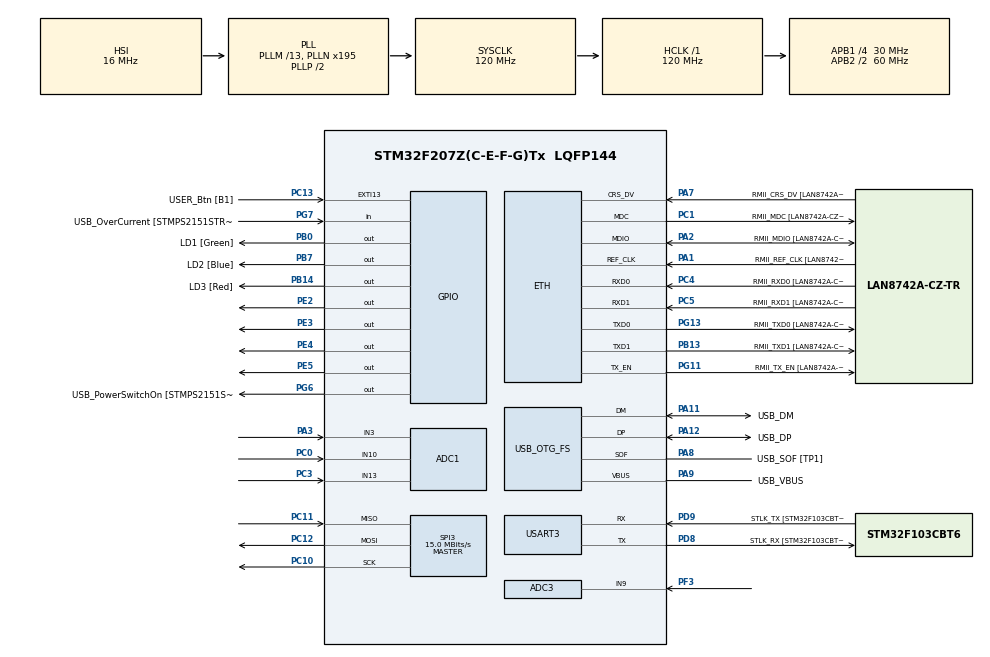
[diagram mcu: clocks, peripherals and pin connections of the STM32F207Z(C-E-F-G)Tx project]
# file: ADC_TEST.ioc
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ADC1.Channel-0\#ChannelRegularConversion=ADC_CHANNEL_3
ADC1.Channel-1\#ChannelRegularConversion=ADC_CHANNEL_10
ADC1.Channel-2\#ChannelRegularConversion=ADC_CHANNEL_13
ADC1.EnableAnalogWatchDog=true
ADC1.NbrOfConversion=3
ADC1.NbrOfConversionFlag=1
ADC1.Rank-0\#ChannelRegularConversion=1
ADC1.Rank-1\#ChannelRegularConversion=2
ADC1.Rank-2\#ChannelRegularConversion=3
ADC1.SamplingTime-0\#ChannelRegularConversion=ADC_SAMPLETIME_3CYCLES
ADC1.SamplingTime-1\#ChannelRegularConversion=ADC_SAMPLETIME_3CYCLES
ADC1.SamplingTime-2\#ChannelRegularConversion=ADC_SAMPLETIME_3CYCLES
ADC1.ScanConvMode=ENABLE
ADC1.WatchdogChannel=ADC_CHANNEL_3
ADC1.master=1
ADC3.Channel-0\#ChannelRegularConversion=ADC_CHANNEL_9
ADC3.Channel-1\#ChannelRegularConversion=ADC_CHANNEL_9
ADC3.EnableAnalogWatchDog=true
ADC3.NbrOfConversion=2
ADC3.NbrOfConversionFlag=1
ADC3.Rank-0\#ChannelRegularConversion=1
ADC3.Rank-1\#ChannelRegularConversion=2
ADC3.SamplingTime-0\#ChannelRegularConversion=ADC_SAMPLETIME_3CYCLES
ADC3.SamplingTime-1\#ChannelRegularConversion=ADC_SAMPLETIME_3CYCLES
ADC3.ScanConvMode=ENABLE
ADC3.WatchdogChannel=ADC_CHANNEL_9
Dma.ADC1.0.Direction=DMA_PERIPH_TO_MEMORY
Dma.ADC1.0.FIFOMode=DMA_FIFOMODE_DISABLE
Dma.ADC1.0.Instance=DMA2_Stream0
Dma.ADC1.0.MemDataAlignment=DMA_MDATAALIGN_WORD
Dma.ADC1.0.MemInc=DMA_MINC_ENABLE
Dma.ADC1.0.Mode=DMA_CIRCULAR
Dma.ADC1.0.PeriphDataAlignment=DMA_PDATAALIGN_WORD
Dma.ADC1.0.PeriphInc=DMA_PINC_DISABLE
Dma.ADC1.0.Priority=DMA_PRIORITY_LOW
Dma.ADC3.1.Direction=DMA_PERIPH_TO_MEMORY
Dma.ADC3.1.FIFOMode=DMA_FIFOMODE_DISABLE
Dma.ADC3.1.Instance=DMA2_Stream1
Dma.ADC3.1.MemDataAlignment=DMA_MDATAALIGN_HALFWORD
Dma.ADC3.1.MemInc=DMA_MINC_ENABLE
Dma.ADC3.1.Mode=DMA_CIRCULAR
Dma.ADC3.1.PeriphDataAlignment=DMA_PDATAALIGN_HALFWORD
Dma.ADC3.1.PeriphInc=DMA_PINC_DISABLE
Dma.ADC3.1.Priority=DMA_PRIORITY_LOW
Dma.Request0=ADC1
Dma.Request1=ADC3
ETH.MediaInterface=ETH_MEDIA_INTERFACE_RMII
ETH.PHY_Name=LAN8742A_PHY_ADDRESS
ETH.PHY_Value=0
ETH.PhyAddress=0
Mcu.Family=STM32F2
Mcu.Name=STM32F207Z(C-E-F-G)Tx
Mcu.Package=LQFP144
NVIC.ADC_IRQn=true\:0\:0\:false\:false\:true\:true\:true
NVIC.DMA2_Stream0_IRQn=true\:0\:0\:false\:false\:true\:false\:true
NVIC.DMA2_Stream1_IRQn=true\:0\:0\:false\:false\:true\:false\:true
NVIC.PriorityGroup=NVIC_PRIORITYGROUP_4
NVIC.USART3_IRQn=true\:0\:0\:false\:false\:true\:true\:true
PA1.GPIO_Label=RMII_REF_CLK [LAN8742A-CZ-TR_REFCLK0]
PA1.Mode=RMII
PA1.Signal=ETH_REF_CLK
PA10.GPIO_Label=USB_ID
PA10.Signal=USB_OTG_FS_ID
PA11.GPIO_Label=USB_DM
PA11.Mode=Device_Only
PA11.Signal=USB_OTG_FS_DM
PA12.GPIO_Label=USB_DP
PA12.Mode=Device_Only
PA12.Signal=USB_OTG_FS_DP
PA13.GPIO_Label=TMS
PA13.Mode=Serial_Wire
PA13.Signal=SYS_JTMS-SWDIO
PA14.GPIO_Label=TCK
PA14.Mode=Serial_Wire
PA14.Signal=SYS_JTCK-SWCLK
PA2.GPIO_Label=RMII_MDIO [LAN8742A-CZ-TR_MDIO]
PA2.Mode=RMII
PA2.Signal=ETH_MDIO
PA3.Signal=ADCx_IN3
PA7.GPIO_Label=RMII_CRS_DV [LAN8742A-CZ-TR_CRS_DV]
PA7.Mode=RMII
PA7.Signal=ETH_CRS_DV
PA8.GPIO_Label=USB_SOF [TP1]
PA8.Mode=Activate_SOF_FS
PA8.Signal=USB_OTG_FS_SOF
PA9.GPIO_Label=USB_VBUS
PA9.Mode=Activate_VBUS
PA9.Signal=USB_OTG_FS_VBUS
PB0.GPIO_Label=LD1 [Green]
PB0.Signal=GPIO_Output
PB13.GPIO_Label=RMII_TXD1 [LAN8742A-CZ-TR_TXD1]
PB13.Mode=RMII
PB13.Signal=ETH_TXD1
PB14.GPIO_Label=LD3 [Red]
PB14.Signal=GPIO_Output
PB3.GPIO_Label=SWO
PB3.Signal=SYS_JTDO-SWO
PB7.GPIO_Label=LD2 [Blue]
PB7.Signal=GPIO_Output
PC0.Signal=ADCx_IN10
PC1.GPIO_Label=RMII_MDC [LAN8742A-CZ-TR_MDC]
PC1.Mode=RMII
PC1.Signal=ETH_MDC
PC10.Mode=Full_Duplex_Master
PC10.Signal=SPI3_SCK
PC11.Mode=Full_Duplex_Master
PC11.Signal=SPI3_MISO
PC12.Mode=Full_Duplex_Master
PC12.Signal=SPI3_MOSI
PC13.GPIO_Label=USER_Btn [B1]
PC13.Signal=GPXTI13
PC14-OSC32_IN.Mode=LSE-External-Oscillator
PC14-OSC32_IN.Signal=RCC_OSC32_IN
PC15-OSC32_OUT.Mode=LSE-External-Oscillator
PC15-OSC32_OUT.Signal=RCC_OSC32_OUT
PC3.Signal=ADCx_IN13
PC4.GPIO_Label=RMII_RXD0 [LAN8742A-CZ-TR_RXD0]
PC4.Mode=RMII
PC4.Signal=ETH_RXD0
PC5.GPIO_Label=RMII_RXD1 [LAN8742A-CZ-TR_RXD1]
PC5.Mode=RMII
PC5.Signal=ETH_RXD1
PD8.GPIO_Label=STLK_RX [STM32F103CBT6_PA3]
PD8.Mode=Asynchronous
PD8.Signal=USART3_TX
PD9.GPIO_Label=STLK_TX [STM32F103CBT6_PA2]
PD9.Mode=Asynchronous
PD9.Signal=USART3_RX
PE2.Signal=GPIO_Output
PE3.Signal=GPIO_Output
PE4.Signal=GPIO_Output
PE5.Signal=GPIO_Output
PF3.Mode=IN9
PF3.Signal=ADC3_IN9
PG11.GPIO_Label=RMII_TX_EN [LAN8742A-CZ-TR_TXEN]
PG11.Mode=RMII
PG11.Signal=ETH_TX_EN
PG13.GPIO_Label=RMII_TXD0 [LAN8742A-CZ-TR_TXD0]
PG13.Mode=RMII
PG13.Signal=ETH_TXD0
PG6.GPIO_Label=USB_PowerSwitchOn [STMPS2151STR_EN]
PG6.Signal=GPIO_Output
PG7.GPIO_Label=USB_OverCurrent [STMPS2151STR_FAULT]
PG7.Signal=GPIO_Input
PH0-OSC_IN.GPIO_Label=MCO [STM32F103CBT6_PA8]
PH0-OSC_IN.Mode=HSE-External-Clock-Source
PH0-OSC_IN.Signal=RCC_OSC_IN
PH1-OSC_OUT.Mode=HSE-External-Clock-Source
PH1-OSC_OUT.Signal=RCC_OSC_OUT
ProjectManager.HeapSize=0x200
ProjectManager.StackSize=0x400
ProjectManager.TargetToolchain=STM32CubeIDE
RCC.48MHZClocksFreq_Value=48000000
RCC.AHBFreq_Value=120000000
RCC.APB1CLKDivider=RCC_HCLK_DIV4
RCC.APB1Freq_Value=30000000
RCC.APB1TimFreq_Value=60000000
RCC.APB2CLKDivider=RCC_HCLK_DIV2
RCC.APB2Freq_Value=60000000
RCC.APB2TimFreq_Value=120000000
RCC.CortexFreq_Value=120000000
RCC.HCLKFreq_Value=120000000
RCC.HSE_VALUE=8000000
RCC.HSI_VALUE=16000000
RCC.PLLM=13
RCC.PLLMUL=RCC_PLL_MUL9
RCC.PLLN=195
RCC.PLLQ=5
RCC.PRESCALERUSB=RCC_USBCLKSOURCE_PLL_DIV1_5
RCC.SYSCLKFreq_VALUE=120000000
RCC.SYSCLKSource=RCC_SYSCLKSOURCE_PLLCLK
RCC.SYSCLKSourceVirtual=RCC_SYSCLKSOURCE_PLLCLK
RCC.USBFreq_Value=48000000
RCC.VCOOutputFreq_Value=240000000
SH.ADCx_IN10.0=ADC1_IN10,IN10
SH.ADCx_IN13.0=ADC1_IN13,IN13
SH.ADCx_IN3.0=ADC1_IN3,IN3
SPI3.CalculateBaudRate=15.0 MBits/s
SPI3.Direction=SPI_DIRECTION_2LINES
SPI3.Mode=SPI_MODE_MASTER
SPI3.VirtualType=VM_MASTER
USART3.VirtualMode=VM_ASYNC
USB_OTG_FS.VirtualMode=Device_Only
board=NUCLEO-F207ZG

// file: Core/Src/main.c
/* USER CODE BEGIN Header */
/* USER CODE END Header */
#include "main.h"

/* USER CODE BEGIN PD */
#define HAL_PRINT(HU,STR) HAL_UART_Transmit(HU, STR, strlen(STR),1000) // UART_Transmit�?? HAL_PRINT�?? ?��처리 ?��?��?��
/* USER CODE END PD */

ADC_HandleTypeDef hadc1;
ADC_HandleTypeDef hadc3;
DMA_HandleTypeDef hdma_adc1;
DMA_HandleTypeDef hdma_adc3;

ETH_HandleTypeDef heth;

SPI_HandleTypeDef hspi3;

UART_HandleTypeDef huart3;

PCD_HandleTypeDef hpcd_USB_OTG_FS;

void SystemClock_Config(void);
static void MX_GPIO_Init(void);
static void MX_DMA_Init(void);
static void MX_ETH_Init(void);
static void MX_USART3_UART_Init(void);
static void MX_USB_OTG_FS_PCD_Init(void);
static void MX_ADC1_Init(void);
static void MX_ADC3_Init(void);
static void MX_SPI3_Init(void);

int main(void)
{

	/* MCU Configuration--------------------------------------------------------*/

	/* Reset of all peripherals, Initializes the Flash interface and the Systick. */
	HAL_Init();

	/* Configure the system clock */
	SystemClock_Config();

	/* Initialize all configured peripherals */
	MX_GPIO_Init();
	MX_DMA_Init();
	MX_ETH_Init();
	MX_USART3_UART_Init();
	MX_USB_OTG_FS_PCD_Init();
	MX_ADC1_Init();
	MX_ADC3_Init();
	MX_SPI3_Init();
	/* USER CODE BEGIN 2 */
	HAL_PRINT(&huart3, "INIT CLEAR\r\n"); // ?��처리?�� 것으�?? UART Transmit ?��
	uint32_t adcValue[4]; // ACD �?? ???�� 배열
	char buf[130]; // ?�� ?��?�� 130?���?? >> �??

	uint16_t command; // SET MAX Value SAVE Variable
	uint8_t cnt = 0; // 초기?�� �?? 분기 �???��
	/* USER CODE END 2 */

	/* Infinite loop */
	while (1)
	{

		/* USER CODE BEGIN 3 */

		for (int i = 2; i <= 5; i++)
		{
			HAL_GPIO_WritePin(GPIOE, (1 << i), RESET);
			switch (i % 2)
			{ // if 문을 switch case�?? 바꿈
			case 1:
				command = cnt;
				break;
			default:
				command = 255 - cnt;
				break;
			} // End of switch case default

			/*
			 if (i % 2 == 1)
			 {
			 command = cnt;
			 }
			 else
			 {
			 command = 255 - cnt;
			 }*/
			command <<= 8; // Bit shift
			HAL_SPI_Transmit(&hspi3, &command, 2, 1000); // SPI ?��?��
			HAL_GPIO_WritePin(GPIOE, (1 << i), SET);
			// HAL_SPI_Receive(&hspi3, buf, 2, 1000);
		} // End of for

		HAL_ADC_Start_DMA(&hadc1, adcValue, 3); // ADC1 3개이�??�??
		for (int i = 0; i < 3; i++)
		{ // ADC 3개�?? ?��?��?���??�?? DMA�?? ?��?��?��
			HAL_DMA_PollForTransfer(&hdma_adc1, HAL_DMA_FULL_TRANSFER, 1000); // ?���?? 뭔�? ?��?��?��?��
		}
		HAL_ADC_Stop_DMA(&hadc1); // ?��것이 뭔�?

		HAL_ADC_Start(&hadc3); // ADC 1개만 ?��근하�??�?? DMA�?? ?��?�� ?��?��.
		HAL_ADC_PollForConversion(&hadc3, 100);
		adcValue[3] = HAL_ADC_GetValue(&hadc3);
		HAL_ADC_Stop(&hadc3);

		sprintf(buf, "STEP : ADC = %03d   %04d   %04d   %04d   %04d\r\n", cnt,
				adcValue[0], adcValue[1], adcValue[2], adcValue[3]);
		HAL_PRINT(&huart3, (uint8_t* )buf);
		HAL_Delay(500);
		cnt++;
	}
	/* USER CODE END 3 */
}

void SystemClock_Config(void)
{
	RCC_OscInitTypeDef RCC_OscInitStruct =
	{ 0 };
	RCC_ClkInitTypeDef RCC_ClkInitStruct =
	{ 0 };

	/** Initializes the RCC Oscillators according to the specified parameters
	 * in the RCC_OscInitTypeDef structure.
	 */
	RCC_OscInitStruct.OscillatorType = RCC_OSCILLATORTYPE_HSI;
	RCC_OscInitStruct.HSIState = RCC_HSI_ON;
	RCC_OscInitStruct.HSICalibrationValue = RCC_HSICALIBRATION_DEFAULT;
	RCC_OscInitStruct.PLL.PLLState = RCC_PLL_ON;
	RCC_OscInitStruct.PLL.PLLSource = RCC_PLLSOURCE_HSI;
	RCC_OscInitStruct.PLL.PLLM = 13;
	RCC_OscInitStruct.PLL.PLLN = 195;
	RCC_OscInitStruct.PLL.PLLP = RCC_PLLP_DIV2;
	RCC_OscInitStruct.PLL.PLLQ = 5;
	if (HAL_RCC_OscConfig(&RCC_OscInitStruct) != HAL_OK)
	{
		Error_Handler();
	}
	/** Initializes the CPU, AHB and APB buses clocks
	 */
	RCC_ClkInitStruct.ClockType = RCC_CLOCKTYPE_HCLK | RCC_CLOCKTYPE_SYSCLK
			| RCC_CLOCKTYPE_PCLK1 | RCC_CLOCKTYPE_PCLK2;
	RCC_ClkInitStruct.SYSCLKSource = RCC_SYSCLKSOURCE_PLLCLK;
	RCC_ClkInitStruct.AHBCLKDivider = RCC_SYSCLK_DIV1;
	RCC_ClkInitStruct.APB1CLKDivider = RCC_HCLK_DIV4;
	RCC_ClkInitStruct.APB2CLKDivider = RCC_HCLK_DIV2;

	if (HAL_RCC_ClockConfig(&RCC_ClkInitStruct, FLASH_LATENCY_3) != HAL_OK)
	{
		Error_Handler();
	}
}

static void MX_ADC1_Init(void)
{

	ADC_AnalogWDGConfTypeDef AnalogWDGConfig =
	{ 0 };
	ADC_ChannelConfTypeDef sConfig =
	{ 0 };

	/** Configure the global features of the ADC (Clock, Resolution, Data Alignment and number of conversion)
	 */
	hadc1.Instance = ADC1;
	hadc1.Init.ClockPrescaler = ADC_CLOCK_SYNC_PCLK_DIV2;
	hadc1.Init.Resolution = ADC_RESOLUTION_12B;
	hadc1.Init.ScanConvMode = ENABLE;
	hadc1.Init.ContinuousConvMode = DISABLE;
	hadc1.Init.DiscontinuousConvMode = DISABLE;
	hadc1.Init.ExternalTrigConvEdge = ADC_EXTERNALTRIGCONVEDGE_NONE;
	hadc1.Init.ExternalTrigConv = ADC_SOFTWARE_START;
	hadc1.Init.DataAlign = ADC_DATAALIGN_RIGHT;
	hadc1.Init.NbrOfConversion = 3;
	hadc1.Init.DMAContinuousRequests = DISABLE;
	hadc1.Init.EOCSelection = ADC_EOC_SINGLE_CONV;
	if (HAL_ADC_Init(&hadc1) != HAL_OK)
	{
		Error_Handler();
	}
	/** Configure the analog watchdog
	 */
	AnalogWDGConfig.WatchdogMode = ADC_ANALOGWATCHDOG_SINGLE_REG;
	AnalogWDGConfig.HighThreshold = 0;
	AnalogWDGConfig.LowThreshold = 0;
	AnalogWDGConfig.Channel = ADC_CHANNEL_3;
	AnalogWDGConfig.ITMode = DISABLE;
	if (HAL_ADC_AnalogWDGConfig(&hadc1, &AnalogWDGConfig) != HAL_OK)
	{
		Error_Handler();
	}
	/** Configure for the selected ADC regular channel its corresponding rank in the sequencer and its sample time.
	 */
	sConfig.Channel = ADC_CHANNEL_3;
	sConfig.Rank = 1;
	sConfig.SamplingTime = ADC_SAMPLETIME_3CYCLES;
	if (HAL_ADC_ConfigChannel(&hadc1, &sConfig) != HAL_OK)
	{
		Error_Handler();
	}
	/** Configure for the selected ADC regular channel its corresponding rank in the sequencer and its sample time.
	 */
	sConfig.Channel = ADC_CHANNEL_10;
	sConfig.Rank = 2;
	if (HAL_ADC_ConfigChannel(&hadc1, &sConfig) != HAL_OK)
	{
		Error_Handler();
	}
	/** Configure for the selected ADC regular channel its corresponding rank in the sequencer and its sample time.
	 */
	sConfig.Channel = ADC_CHANNEL_13;
	sConfig.Rank = 3;
	if (HAL_ADC_ConfigChannel(&hadc1, &sConfig) != HAL_OK)
	{
		Error_Handler();
	}

}

static void MX_ADC3_Init(void)
{

	ADC_AnalogWDGConfTypeDef AnalogWDGConfig =
	{ 0 };
	ADC_ChannelConfTypeDef sConfig =
	{ 0 };

	/** Configure the global features of the ADC (Clock, Resolution, Data Alignment and number of conversion)
	 */
	hadc3.Instance = ADC3;
	hadc3.Init.ClockPrescaler = ADC_CLOCK_SYNC_PCLK_DIV2;
	hadc3.Init.Resolution = ADC_RESOLUTION_12B;
	hadc3.Init.ScanConvMode = ENABLE;
	hadc3.Init.ContinuousConvMode = DISABLE;
	hadc3.Init.DiscontinuousConvMode = DISABLE;
	hadc3.Init.ExternalTrigConvEdge = ADC_EXTERNALTRIGCONVEDGE_NONE;
	hadc3.Init.ExternalTrigConv = ADC_SOFTWARE_START;
	hadc3.Init.DataAlign = ADC_DATAALIGN_RIGHT;
	hadc3.Init.NbrOfConversion = 2;
	hadc3.Init.DMAContinuousRequests = DISABLE;
	hadc3.Init.EOCSelection = ADC_EOC_SINGLE_CONV;
	if (HAL_ADC_Init(&hadc3) != HAL_OK)
	{
		Error_Handler();
	}
	/** Configure the analog watchdog
	 */
	AnalogWDGConfig.WatchdogMode = ADC_ANALOGWATCHDOG_SINGLE_REG;
	AnalogWDGConfig.HighThreshold = 0;
	AnalogWDGConfig.LowThreshold = 0;
	AnalogWDGConfig.Channel = ADC_CHANNEL_9;
	AnalogWDGConfig.ITMode = DISABLE;
	if (HAL_ADC_AnalogWDGConfig(&hadc3, &AnalogWDGConfig) != HAL_OK)
	{
		Error_Handler();
	}
	/** Configure for the selected ADC regular channel its corresponding rank in the sequencer and its sample time.
	 */
	sConfig.Channel = ADC_CHANNEL_9;
	sConfig.Rank = 1;
	sConfig.SamplingTime = ADC_SAMPLETIME_3CYCLES;
	if (HAL_ADC_ConfigChannel(&hadc3, &sConfig) != HAL_OK)
	{
		Error_Handler();
	}
	/** Configure for the selected ADC regular channel its corresponding rank in the sequencer and its sample time.
	 */
	sConfig.Rank = 2;
	if (HAL_ADC_ConfigChannel(&hadc3, &sConfig) != HAL_OK)
	{
		Error_Handler();
	}

}

static void MX_ETH_Init(void)
{

	heth.Instance = ETH;
	heth.Init.AutoNegotiation = ETH_AUTONEGOTIATION_ENABLE;
	heth.Init.PhyAddress = LAN8742A_PHY_ADDRESS;
	heth.Init.MACAddr[0] = 0x00;
	heth.Init.MACAddr[1] = 0x80;
	heth.Init.MACAddr[2] = 0xE1;
	heth.Init.MACAddr[3] = 0x00;
	heth.Init.MACAddr[4] = 0x00;
	heth.Init.MACAddr[5] = 0x00;
	heth.Init.RxMode = ETH_RXPOLLING_MODE;
	heth.Init.ChecksumMode = ETH_CHECKSUM_BY_HARDWARE;
	heth.Init.MediaInterface = ETH_MEDIA_INTERFACE_RMII;

	if (HAL_ETH_Init(&heth) != HAL_OK)
	{
		Error_Handler();
	}

}

static void MX_SPI3_Init(void)
{

	/* SPI3 parameter configuration*/
	hspi3.Instance = SPI3;
	hspi3.Init.Mode = SPI_MODE_MASTER;
	hspi3.Init.Direction = SPI_DIRECTION_2LINES;
	hspi3.Init.DataSize = SPI_DATASIZE_8BIT;
	hspi3.Init.CLKPolarity = SPI_POLARITY_LOW;
	hspi3.Init.CLKPhase = SPI_PHASE_1EDGE;
	hspi3.Init.NSS = SPI_NSS_SOFT;
	hspi3.Init.BaudRatePrescaler = SPI_BAUDRATEPRESCALER_2;
	hspi3.Init.FirstBit = SPI_FIRSTBIT_MSB;
	hspi3.Init.TIMode = SPI_TIMODE_DISABLE;
	hspi3.Init.CRCCalculation = SPI_CRCCALCULATION_DISABLE;
	hspi3.Init.CRCPolynomial = 10;
	if (HAL_SPI_Init(&hspi3) != HAL_OK)
	{
		Error_Handler();
	}

}

static void MX_USART3_UART_Init(void)
{

	huart3.Instance = USART3;
	huart3.Init.BaudRate = 115200;
	huart3.Init.WordLength = UART_WORDLENGTH_8B;
	huart3.Init.StopBits = UART_STOPBITS_1;
	huart3.Init.Parity = UART_PARITY_NONE;
	huart3.Init.Mode = UART_MODE_TX_RX;
	huart3.Init.HwFlowCtl = UART_HWCONTROL_NONE;
	huart3.Init.OverSampling = UART_OVERSAMPLING_16;
	if (HAL_UART_Init(&huart3) != HAL_OK)
	{
		Error_Handler();
	}

}

static void MX_USB_OTG_FS_PCD_Init(void)
{

	hpcd_USB_OTG_FS.Instance = USB_OTG_FS;
	hpcd_USB_OTG_FS.Init.dev_endpoints = 4;
	hpcd_USB_OTG_FS.Init.speed = PCD_SPEED_FULL;
	hpcd_USB_OTG_FS.Init.dma_enable = DISABLE;
	hpcd_USB_OTG_FS.Init.phy_itface = PCD_PHY_EMBEDDED;
	hpcd_USB_OTG_FS.Init.Sof_enable = ENABLE;
	hpcd_USB_OTG_FS.Init.low_power_enable = DISABLE;
	hpcd_USB_OTG_FS.Init.vbus_sensing_enable = ENABLE;
	hpcd_USB_OTG_FS.Init.use_dedicated_ep1 = DISABLE;
	if (HAL_PCD_Init(&hpcd_USB_OTG_FS) != HAL_OK)
	{
		Error_Handler();
	}

}

static void MX_DMA_Init(void)
{

	/* DMA controller clock enable */
	__HAL_RCC_DMA2_CLK_ENABLE();

	/* DMA interrupt init */
	/* DMA2_Stream0_IRQn interrupt configuration */
	HAL_NVIC_SetPriority(DMA2_Stream0_IRQn, 0, 0);
	HAL_NVIC_EnableIRQ(DMA2_Stream0_IRQn);
	/* DMA2_Stream1_IRQn interrupt configuration */
	HAL_NVIC_SetPriority(DMA2_Stream1_IRQn, 0, 0);
	HAL_NVIC_EnableIRQ(DMA2_Stream1_IRQn);

}

static void MX_GPIO_Init(void)
{
	GPIO_InitTypeDef GPIO_InitStruct =
	{ 0 };

	/* GPIO Ports Clock Enable */
	__HAL_RCC_GPIOE_CLK_ENABLE();
	__HAL_RCC_GPIOC_CLK_ENABLE();
	__HAL_RCC_GPIOF_CLK_ENABLE();
	__HAL_RCC_GPIOH_CLK_ENABLE();
	__HAL_RCC_GPIOA_CLK_ENABLE();
	__HAL_RCC_GPIOB_CLK_ENABLE();
	__HAL_RCC_GPIOD_CLK_ENABLE();
	__HAL_RCC_GPIOG_CLK_ENABLE();

	/*Configure GPIO pin Output Level */
	HAL_GPIO_WritePin(GPIOE, GPIO_PIN_2 | GPIO_PIN_3 | GPIO_PIN_4 | GPIO_PIN_5,
			GPIO_PIN_RESET);

	/*Configure GPIO pin Output Level */
	HAL_GPIO_WritePin(GPIOB, LD1_Pin | LD3_Pin | LD2_Pin, GPIO_PIN_RESET);

	/*Configure GPIO pin Output Level */
	HAL_GPIO_WritePin(USB_PowerSwitchOn_GPIO_Port, USB_PowerSwitchOn_Pin,
			GPIO_PIN_RESET);

	/*Configure GPIO pins : PE2 PE3 PE4 PE5 */
	GPIO_InitStruct.Pin = GPIO_PIN_2 | GPIO_PIN_3 | GPIO_PIN_4 | GPIO_PIN_5;
	GPIO_InitStruct.Mode = GPIO_MODE_OUTPUT_PP;
	GPIO_InitStruct.Pull = GPIO_NOPULL;
	GPIO_InitStruct.Speed = GPIO_SPEED_FREQ_LOW;
	HAL_GPIO_Init(GPIOE, &GPIO_InitStruct);

	/*Configure GPIO pin : USER_Btn_Pin */
	GPIO_InitStruct.Pin = USER_Btn_Pin;
	GPIO_InitStruct.Mode = GPIO_MODE_IT_RISING;
	GPIO_InitStruct.Pull = GPIO_NOPULL;
	HAL_GPIO_Init(USER_Btn_GPIO_Port, &GPIO_InitStruct);

	/*Configure GPIO pins : LD1_Pin LD3_Pin LD2_Pin */
	GPIO_InitStruct.Pin = LD1_Pin | LD3_Pin | LD2_Pin;
	GPIO_InitStruct.Mode = GPIO_MODE_OUTPUT_PP;
	GPIO_InitStruct.Pull = GPIO_NOPULL;
	GPIO_InitStruct.Speed = GPIO_SPEED_FREQ_LOW;
	HAL_GPIO_Init(GPIOB, &GPIO_InitStruct);

	/*Configure GPIO pin : USB_PowerSwitchOn_Pin */
	GPIO_InitStruct.Pin = USB_PowerSwitchOn_Pin;
	GPIO_InitStruct.Mode = GPIO_MODE_OUTPUT_PP;
	GPIO_InitStruct.Pull = GPIO_NOPULL;
	GPIO_InitStruct.Speed = GPIO_SPEED_FREQ_LOW;
	HAL_GPIO_Init(USB_PowerSwitchOn_GPIO_Port, &GPIO_InitStruct);

	/*Configure GPIO pin : USB_OverCurrent_Pin */
	GPIO_InitStruct.Pin = USB_OverCurrent_Pin;
	GPIO_InitStruct.Mode = GPIO_MODE_INPUT;
	GPIO_InitStruct.Pull = GPIO_NOPULL;
	HAL_GPIO_Init(USB_OverCurrent_GPIO_Port, &GPIO_InitStruct);

}

void Error_Handler(void)
{
}

/************************ (C) COPYRIGHT STMicroelectronics *****END OF FILE****/
